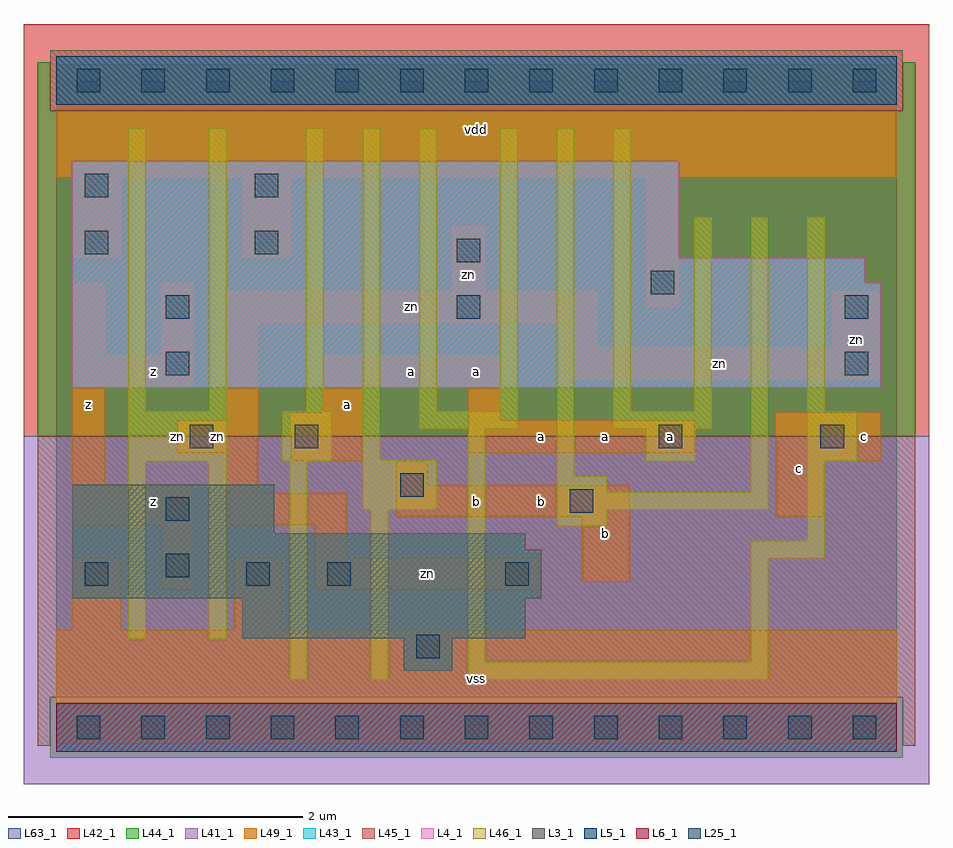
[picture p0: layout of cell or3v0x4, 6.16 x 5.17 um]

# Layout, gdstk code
import gdstk
lib = gdstk.Library(unit=1e-6, precision=1e-09)
def R(c, l, rs):  # rectangles x0, y0, x1, y1
    for r in rs: c.add(gdstk.rectangle(r[:2], r[2:], *l))
def A(c, l, x, y, w, h, nx, ny, dx, dy):  # array of equal rectangles
    R(c, l, [(x+i*dx, y+j*dy, x+i*dx+w, y+j*dy+h) for i in range(nx) for j in range(ny)])
L3_1 = (3, 1)
L4_1 = (4, 1)
L5_1 = (5, 1)
L6_1 = (6, 1)
L25_1 = (25, 1)
L41_1 = (41, 1)
L42_1 = (42, 1)
L43_1 = (43, 1)
L44_1 = (44, 1)
L45_1 = (45, 1)
L46_1 = (46, 1)
L49_1 = (49, 1)
L63_1 = (63, 1)

or3v0x4 = lib.new_cell('or3v0x4')
R(or3v0x4, L3_1, [(2.365,0.385,2.695,0.605), (1.265,0.605,3.19,0.88), (0.11,0.88,3.3,1.21), (0.11,1.21,3.19,1.32), (0.11,1.32,1.485,1.65)])
R(or3v0x4, L4_1, [(0.11,2.31,5.61,3.025), (0.11,3.025,5.5,3.19), (0.11,3.19,4.235,3.85)])
R(or3v0x4, L5_1, [(0,4.235,5.72,4.565)])
R(or3v0x4, L6_1, [(0,-0.165,5.72,0.165)])
A(or3v0x4, L25_1, 0.14, -0.08, 0.16, 0.16, 13, 2, 0.44, 4.4)
R(or3v0x4, L25_1, [(2.45,0.47,2.61,0.63), (0.195,0.965,0.355,1.125), (1.295,0.965,1.455,1.125), (1.845,0.965,2.005,1.125), (3.055,0.965,3.215,1.125), (0.745,1.02,0.905,1.18), (0.745,1.405,0.905,1.565), (3.495,1.46,3.655,1.62), (2.34,1.57,2.5,1.73), (0.91,1.9,1.07,2.06), (1.625,1.9,1.785,2.06), (4.1,1.9,4.26,2.06), (5.2,1.9,5.36,2.06), (0.745,2.395,0.905,2.555), (5.365,2.395,5.525,2.555), (0.745,2.78,0.905,2.94), (2.725,2.78,2.885,2.94), (5.365,2.78,5.525,2.94), (4.045,2.945,4.205,3.105), (2.725,3.165,2.885,3.325), (0.195,3.22,0.355,3.38), (1.35,3.22,1.51,3.38), (0.195,3.605,0.355,3.765), (1.35,3.605,1.51,3.765)])
R(or3v0x4, L41_1, [(-0.22,-0.385,5.94,1.98)])
R(or3v0x4, L42_1, [(-0.22,1.98,5.94,4.785)])
R(or3v0x4, L43_1, [(0,-0.165,5.72,0.165), (2.365,0.385,2.695,0.605), (1.265,0.605,3.19,0.88), (0.11,0.88,3.3,1.21), (0.11,1.21,3.19,1.32), (0.11,1.32,1.485,1.65), (0.11,2.31,5.61,3.025), (0.11,3.025,5.5,3.19), (0.11,3.19,4.235,3.85), (0,4.235,5.72,4.565)])
R(or3v0x4, L44_1, [(-0.04,-0.205,5.76,0.205), (-0.125,1.98,5.845,4.195), (-0.125,4.195,-0.04,4.525), (5.76,4.195,5.845,4.525)])
R(or3v0x4, L45_1, [(-0.125,-0.125,-0.04,0.205), (5.76,-0.125,5.845,0.205), (-0.125,0.205,5.845,1.98), (-0.04,4.195,5.76,4.605)])
R(or3v0x4, L46_1, [(1.59,0.325,1.71,1.81), (2.14,0.325,2.26,1.48), (2.8,0.325,4.845,0.445), (2.8,0.445,2.92,2.03), (4.725,0.445,4.845,1.15), (0.49,0.6,0.61,1.81), (1.04,0.6,1.16,1.81), (4.725,1.15,5.23,1.27), (5.11,1.27,5.23,1.81), (3.405,1.37,3.745,1.48), (2.085,1.48,2.59,1.82), (3.405,1.48,4.845,1.6), (3.405,1.6,3.745,1.71), (4.725,1.6,4.845,3.47), (3.405,1.71,3.525,4.075), (0.49,1.81,1.16,2.15), (1.535,1.81,1.875,2.15), (4.01,1.81,4.35,2.03), (5.11,1.81,5.45,2.15), (2.085,1.82,2.205,4.075), (2.47,2.03,3.14,2.15), (3.79,2.03,4.46,2.15), (0.49,2.15,0.61,4.075), (1.04,2.15,1.16,4.075), (1.7,2.15,1.82,4.075), (2.47,2.15,2.59,4.075), (3.02,2.15,3.14,4.075), (3.79,2.15,3.91,4.075), (4.34,2.15,4.46,3.47), (5.11,2.15,5.23,3.47)])
R(or3v0x4, L49_1, [(0,-0.11,5.72,0.66), (0.11,0.66,0.44,1.155), (1.21,0.66,1.54,1.155), (0.715,0.935,0.935,1.375), (1.76,0.935,3.3,1.155), (3.575,0.99,3.905,1.43), (1.76,1.155,1.98,1.375), (0.11,1.375,0.935,1.65), (1.155,1.375,1.98,1.595), (2.31,1.43,3.905,1.65), (4.895,1.43,5.225,1.815), (1.155,1.595,1.375,1.87), (0.11,1.65,0.33,2.31), (2.31,1.65,2.53,1.815), (1.595,1.815,2.09,2.145), (4.895,1.815,5.61,2.145), (0.825,1.87,1.375,2.09), (2.805,1.87,4.345,2.09), (1.155,2.09,1.375,2.75), (2.805,2.09,3.025,2.31), (1.815,2.145,2.09,2.31), (0.11,2.31,0.935,2.53), (1.815,2.31,3.025,2.53), (3.465,2.365,5.61,2.585), (0.11,2.53,0.33,3.025), (0.715,2.53,0.935,3.025), (3.465,2.585,3.685,2.75), (5.28,2.585,5.61,2.97), (1.155,2.75,3.685,2.97), (4.015,2.86,4.235,3.74), (2.695,2.97,2.915,3.41), (0.11,3.19,0.44,3.74), (1.265,3.19,1.595,3.74), (0,3.74,5.72,4.51)])
R(or3v0x4, L63_1, [(0,0,5.72,4.4)])
or3v0x4.add(gdstk.Label('zn', (0.825,1.98), layer=46, texttype=1))
or3v0x4.add(gdstk.Label('z', (0.66,1.54), layer=49, texttype=1))
or3v0x4.add(gdstk.Label('z', (0.22,2.2), layer=49, texttype=1))
or3v0x4.add(gdstk.Label('z', (0.66,2.42), layer=49, texttype=1))
or3v0x4.add(gdstk.Label('zn', (1.1,1.98), layer=49, texttype=1))
or3v0x4.add(gdstk.Label('a', (1.98,2.2), layer=49, texttype=1))
or3v0x4.add(gdstk.Label('vss', (2.86,0.33), layer=49, texttype=1))
or3v0x4.add(gdstk.Label('zn', (2.53,1.045), layer=49, texttype=1))
or3v0x4.add(gdstk.Label('b', (2.86,1.54), layer=49, texttype=1))
or3v0x4.add(gdstk.Label('b', (3.3,1.54), layer=49, texttype=1))
or3v0x4.add(gdstk.Label('a', (2.42,2.42), layer=49, texttype=1))
or3v0x4.add(gdstk.Label('a', (2.86,2.42), layer=49, texttype=1))
or3v0x4.add(gdstk.Label('a', (3.3,1.98), layer=49, texttype=1))
or3v0x4.add(gdstk.Label('zn', (2.805,3.08), layer=49, texttype=1))
or3v0x4.add(gdstk.Label('vdd', (2.86,4.07), layer=49, texttype=1))
or3v0x4.add(gdstk.Label('b', (3.74,1.32), layer=49, texttype=1))
or3v0x4.add(gdstk.Label('a', (3.74,1.98), layer=49, texttype=1))
or3v0x4.add(gdstk.Label('a', (4.18,1.98), layer=49, texttype=1))
or3v0x4.add(gdstk.Label('zn', (2.42,2.86), layer=49, texttype=1))
or3v0x4.add(gdstk.Label('c', (5.06,1.76), layer=49, texttype=1))
or3v0x4.add(gdstk.Label('zn', (4.51,2.475), layer=49, texttype=1))
or3v0x4.add(gdstk.Label('c', (5.5,1.98), layer=49, texttype=1))
or3v0x4.add(gdstk.Label('zn', (5.445,2.64), layer=49, texttype=1))

lib.write_gds('or3v0x4.gds')
